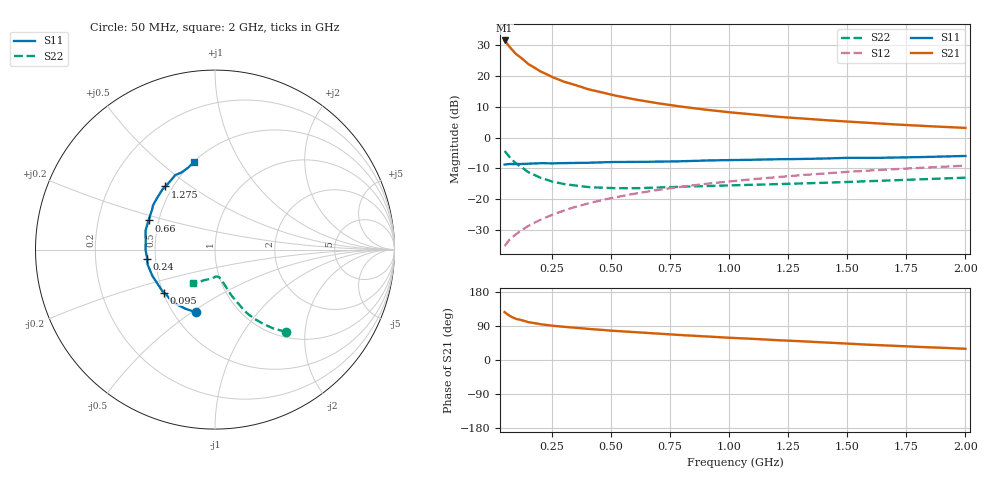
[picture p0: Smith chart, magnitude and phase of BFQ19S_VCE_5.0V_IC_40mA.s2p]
! Infineon Technologies  Discrete & RF Semiconductors
! BFQ19S
! VCE =  5.0 V,  IC =  40 mA
! Common Emitter S-Parameters:  Jan 2016
# GHz  S  MA  R  50
!  f  S11  S21  S12  S22
! GHz  MAG  ANG  MAG  ANG  MAG  ANG  MAG  ANG
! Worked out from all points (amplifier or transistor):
!   391 points, 50 MHz to 2 GHz, reference 50 ohm
!   highest |S21| = 31.6 dB at 50 MHz (marker M1)
!   |S21| within 3 dB of that: start of sweep to 81.36 MHz
!   unconditionally stable (mu >= 1): 290.8 MHz to 1.495 GHz; 1.515 GHz to 1.667 GHz
!   at 375 MHz: K = 1.02, MAG = 18.5 dB, |S12| = -22.0 dB
!   at 1.025 GHz: K = 1.03, MAG = 10.0 dB, |S12| = -14.1 dB
!   at 2 GHz: K = 0.97, MSG = 6.2 dB, |S12| = -9.1 dB
!   S11 on the Smith chart (normalised r, x): 50 MHz: 0.65, -0.52; 95 MHz: 0.51, -0.28; 240 MHz: 0.45, -0.05; 660 MHz: 0.44, +0.17; 1.275 GHz: 0.46, +0.40; 2 GHz: 0.50, +0.66
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0.05  0.365 -106.5  38.18 126.5  0.0171 65.1  0.6067 -49.2
0.06  0.3685 -116.5  33.96 121.3  0.0194 65.2  0.5419 -53.8
0.07  0.3726 -125.4  30.36 117.1  0.0216 64.9  0.4885 -57.3
0.08  0.3733 -131.9  27.38 113.5  0.0231 65.1  0.4437 -60.3
0.09  0.3697 -137.4  24.85 110.7  0.0253 65.2  0.4059 -62.7
0.095  0.3713 -139.8  23.75 109.5  0.0261 65.9  0.3899 -63.6
0.1  0.3735 -142.2  22.67 108.2  0.027 66.5  0.374 -64.5
0.15  0.3784 -157.3  15.77 99.8  0.0364 68.9  0.2742 -70.1
0.2  0.3845 -167.3  12.06 94.5  0.0456 70.6  0.223 -73.2
0.24  0.3814 -172.4  10.19 91.4  0.0533 71.5  0.1991 -75.1
0.25  0.3811 -173.7  9.722 90.5  0.0552 71.7  0.1932 -75.7
0.3  0.3867 -178.9  8.162 87.4  0.0649 71.9  0.1756 -77.6
0.375  0.3879 174.5  6.669 83.7  0.0795 71.7  0.1613 -80.1
0.4  0.3895 172.3  6.179 82.1  0.0844 71.7  0.1566 -81.1
0.5  0.4011 164.9  4.994 77.5  0.1034 71.0  0.1508 -84.3
0.66  0.4043 156.3  3.844 71.2  0.1334 68.8  0.1522 -89.8
0.7  0.4064 154.3  3.62 69.5  0.1409 68.4  0.1537 -91.1
1.03  0.432 138.3  2.527 57.9  0.1988 63.1  0.1683 -101.6
1.275  0.4477 128.2  2.092 50.3  0.2401 59.1  0.1782 -108.2
1.35  0.4522 125.0  1.996 48.0  0.2525 57.8  0.1815 -109.9
1.675  0.4718 111.8  1.662 38.1  0.303 52.2  0.2017 -115.8
2  0.5025 103.5  1.44 29.6  0.3494 46.9  0.2227 -123.2
